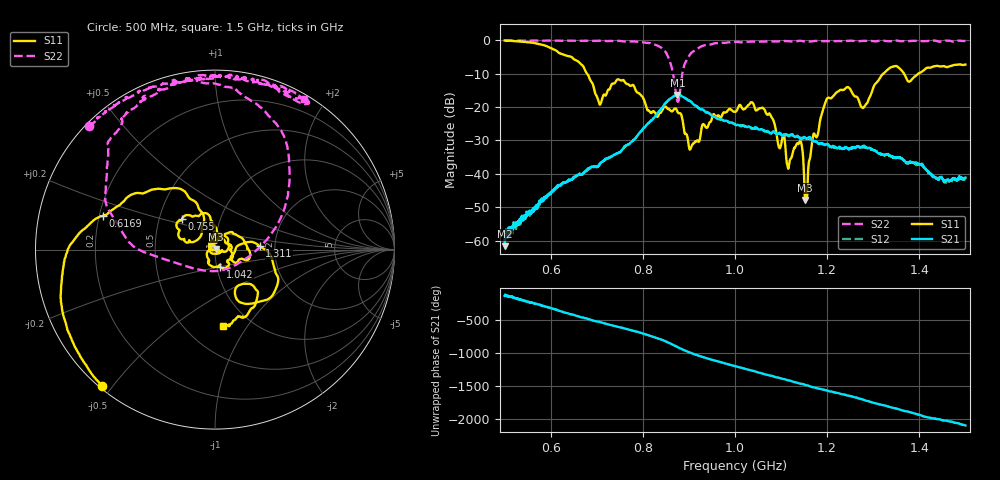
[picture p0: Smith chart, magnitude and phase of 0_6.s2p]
!Agilent Technologies,E8364B,US42250235,A.06.04.32
!Agilent E8364B: A.06.04.32
!Date: Friday, January 15, 2021 16:23:29
!Correction: S11(Full 2 Port(1,2)) S21(Full 2 Port(1,2)) S12(Full 2 Port(1,2)) S22(Full 2 Port(1,2))
!S2P File: Measurements: S11, S21, S12, S22:
# Hz S  dB  R 50
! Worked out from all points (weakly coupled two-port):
!   1601 points, 500 MHz to 1.5 GHz, reference 50 ohm
!   highest |S21| = -16.38 dB at 875 MHz (marker M1); lowest = -61.6 dB at 500.6 MHz (marker M2)
!   lowest |S11| = -47.8 dB at 1.152 GHz (marker M3), VSWR 1.01, Z = 50.3 + j0.28 ohm
!   |S11| at or under -10 dB: 678.8 MHz to 1.322 GHz (643.5 MHz wide, 64.3 % of centre); 1.367 GHz to 1.398 GHz (31.32 MHz wide, 2.27 % of centre)
!   |S22| runs from -18.4 to -0.1 dB; largest |S21 - S12| = 0.0032
!   S11 on the Smith chart (normalised r, x): 500 MHz: 0.01, -0.47; 616.9 MHz: 0.22, +0.14; 755 MHz: 0.66, +0.24; 1.042 GHz: 1.04, -0.21; 1.311 GHz: 1.66, +0.07; 1.5 GHz: 0.75, -0.78
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5e8  -0.13 -129.6  -59.38 -129.4  -58.80 -119.3  -0.15 135.6
5.00625e8  -0.13 -129.8  -61.56 -123.8  -57.99 -114.7  -0.16 135.5
6.16875e8  -3.72 163.1  -43.48 8.8  -43.46 7.6  -0.19 122.9
6.66875e8  -7.31 128.4  -40.09 -94.3  -40.22 -95.2  -0.20 115.5
7.0625e8  -19.28 138.1  -37.10 -165.2  -37.15 -164.6  -0.23 112.0
7.55e8  -12.01 136.8  -32.83 107.2  -32.86 106.3  -0.36 104.4
8.3375e8  -22.51 100.5  -21.56 -55.9  -21.57 -56.4  -1.80 69.5
8.575e8  -20.70 79.5  -17.69 -124.4  -17.76 -124.7  -5.90 36.7
8.75e8  -21.35 32.0  -16.38 176.3  -16.41 176.0  -18.28 -68.1
9.06875e8  -31.32 -127.3  -18.74 77.7  -18.76 77.9  -3.64 157.3
1e9  -21.46 -1.1  -25.25 -115.5  -25.14 -115.1  -0.55 114.5
1.041875e9  -19.78 -73.3  -26.25 169.6  -26.44 167.8  -0.48 109.5
1.079375e9  -23.05 -117.5  -27.85 99.4  -27.57 97.5  -0.41 103.8
1.11625e9  -38.35 61.7  -28.72 29.6  -28.44 30.1  -0.37 99.9
1.14125e9  -30.16 -33.1  -29.38 -19.1  -29.25 -18.5  -0.21 95.0
1.151875e9  -47.80 43.0  -29.09 -37.8  -29.37 -38.0  -0.37 95.5
1.166875e9  -31.03 136.4  -29.81 -70.8  -29.88 -68.1  -0.36 90.2
1.20125e9  -17.28 45.1  -31.05 -127.9  -31.63 -128.2  -0.31 88.8
1.27875e9  -20.23 -21.7  -31.63 96.9  -32.05 96.9  -0.23 79.9
1.31125e9  -12.05 4.3  -33.85 29.5  -33.56 30.6  -0.25 75.8
1.33375e9  -8.58 -22.4  -34.29 -9.2  -34.61 -7.9  -0.37 75.5
1.5e9  -7.33 -83.7  -41.09 66.9  -41.61 65.0  -0.25 59.5
